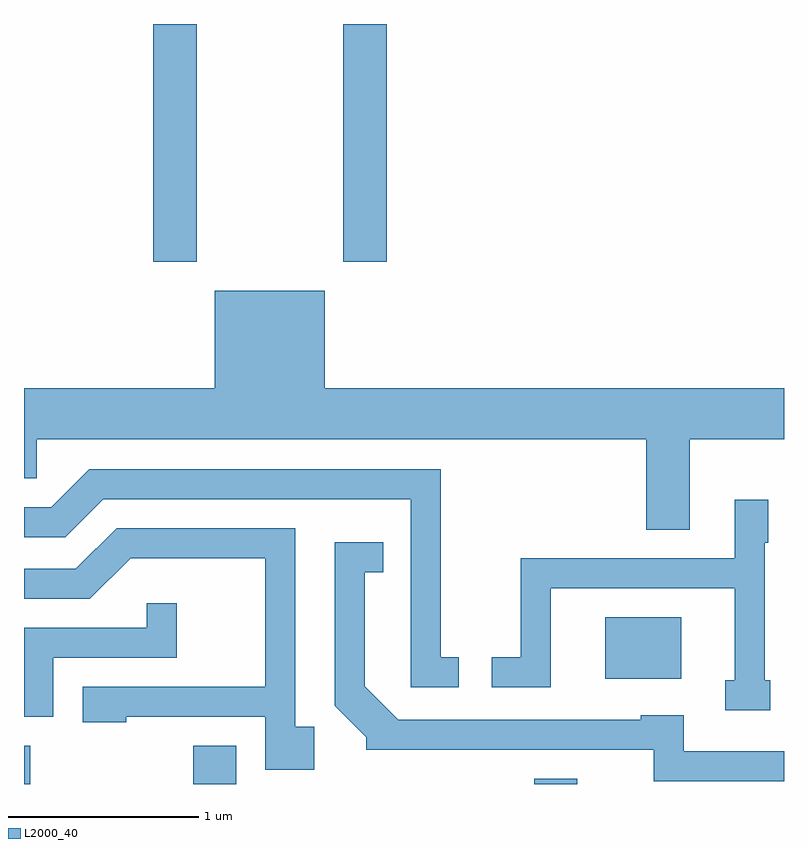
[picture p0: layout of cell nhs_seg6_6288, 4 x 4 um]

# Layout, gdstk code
import gdstk
lib = gdstk.Library(unit=1e-6, precision=1e-09)
def R(c, l, rs):  # rectangles x0, y0, x1, y1
    for r in rs: c.add(gdstk.rectangle(r[:2], r[2:], *l))
def P(c, l, *ps):  # polygons
    for p in ps: c.add(gdstk.Polygon(p, *l))
L2000_40 = (2000, 40)

nhs_seg6_6288 = lib.new_cell('nhs_seg6_6288')
R(nhs_seg6_6288, L2000_40, [(375.611,1608.162,375.644,1608.364), (376.501,1608.162,376.729,1608.364), (378.296,1608.162,378.524,1608.189), (378.671,1608.716,379.069,1609.039), (376.291,1610.911,376.519,1612.162), (377.291,1610.911,377.519,1612.162)])
P(nhs_seg6_6288, L2000_40, [(379.114,1609.976),(379.611,1609.976),(379.611,1610.244),(377.194,1610.244),(377.194,1610.759),(376.616,1610.759),(376.616,1610.244),(375.611,1610.244),(375.611,1609.771),(375.679,1609.771),(375.679,1609.976),(378.886,1609.976),(378.886,1609.501),(379.114,1609.501)],
  [(377.898,1608.829),(377.804,1608.829),(377.804,1609.819),(375.954,1609.819),(375.754,1609.619),(375.611,1609.619),(375.611,1609.461),(375.827,1609.461),(376.027,1609.661),(377.646,1609.661),(377.646,1608.671),(377.898,1608.671)],
  [(379.539,1608.709),(379.509,1608.709),(379.509,1609.431),(379.529,1609.431),(379.529,1609.659),(379.351,1609.659),(379.351,1609.349),(378.226,1609.349),(378.226,1608.829),(378.073,1608.829),(378.073,1608.671),(378.384,1608.671),(378.384,1609.191),(379.351,1609.191),(379.351,1608.709),(379.303,1608.709),(379.303,1608.551),(379.539,1608.551)],
  [(377.139,1608.464),(377.039,1608.464),(377.039,1609.509),(376.099,1609.509),(375.884,1609.294),(375.611,1609.294),(375.611,1609.136),(375.957,1609.136),(376.172,1609.351),(376.881,1609.351),(376.881,1608.674),(375.921,1608.674),(375.921,1608.486),(376.149,1608.486),(376.149,1608.516),(376.881,1608.516),(376.881,1608.236),(377.139,1608.236)],
  [(379.611,1608.334),(379.084,1608.334),(379.084,1608.524),(378.856,1608.524),(378.856,1608.499),(377.582,1608.499),(377.404,1608.677),(377.404,1609.276),(377.503,1609.276),(377.503,1609.434),(377.246,1609.434),(377.246,1608.574),(377.411,1608.409),(377.411,1608.341),(378.926,1608.341),(378.926,1608.176),(379.611,1608.176)],
  [(375.764,1608.826),(376.414,1608.826),(376.414,1609.113),(376.256,1609.113),(376.256,1608.984),(375.611,1608.984),(375.611,1608.516),(375.764,1608.516)])

lib.write_gds('nhs_seg6_6288.gds')
